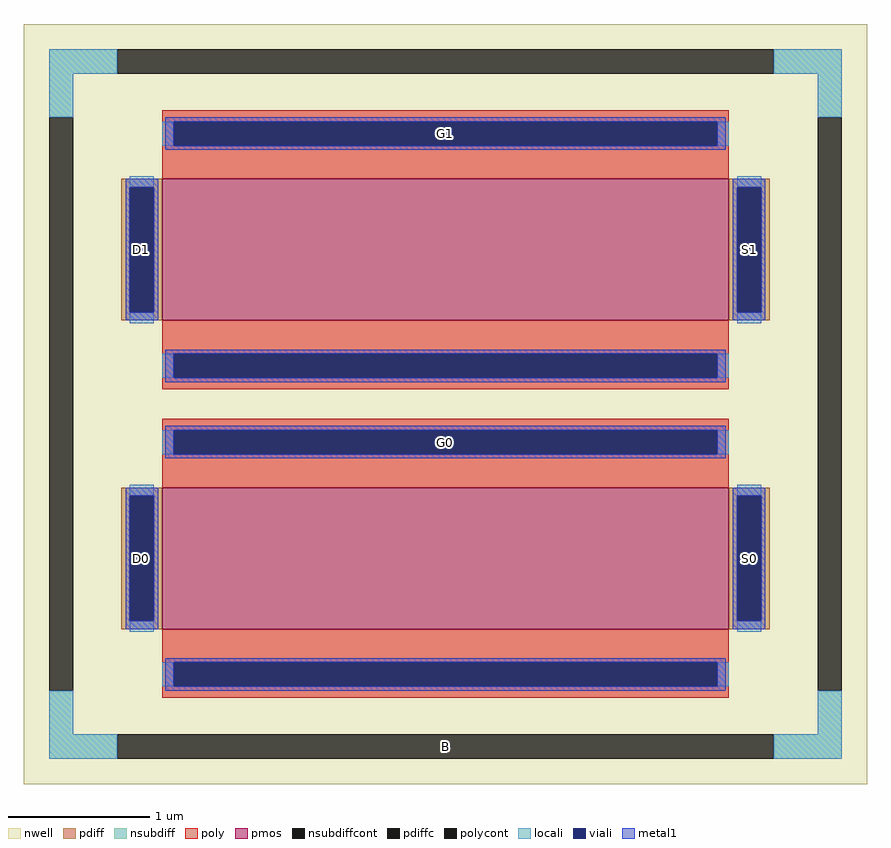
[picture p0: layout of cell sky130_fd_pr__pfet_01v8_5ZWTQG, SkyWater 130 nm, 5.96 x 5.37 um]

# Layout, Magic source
magic
tech sky130A
magscale 1 2
<< nwell >>
rect -596 -537 596 537
<< pmos >>
rect -400 118 400 318
rect -400 -318 400 -118
<< pdiff >>
rect -458 306 -400 318
rect -458 130 -446 306
rect -412 130 -400 306
rect -458 118 -400 130
rect 400 306 458 318
rect 400 130 412 306
rect 446 130 458 306
rect 400 118 458 130
rect -458 -130 -400 -118
rect -458 -306 -446 -130
rect -412 -306 -400 -130
rect -458 -318 -400 -306
rect 400 -130 458 -118
rect 400 -306 412 -130
rect 446 -306 458 -130
rect 400 -318 458 -306
<< pdiffc >>
rect -446 130 -412 306
rect 412 130 446 306
rect -446 -306 -412 -130
rect 412 -306 446 -130
<< nsubdiff >>
rect -560 467 -464 501
rect 464 467 560 501
rect -560 405 -526 467
rect 526 405 560 467
rect -560 -467 -526 -405
rect 526 -467 560 -405
rect -560 -501 -464 -467
rect 464 -501 560 -467
<< nsubdiffcont >>
rect -464 467 464 501
rect -560 -405 -526 405
rect 526 -405 560 405
rect -464 -501 464 -467
<< poly >>
rect -400 399 400 415
rect -400 365 -384 399
rect 384 365 400 399
rect -400 318 400 365
rect -400 71 400 118
rect -400 37 -384 71
rect 384 37 400 71
rect -400 21 400 37
rect -400 -37 400 -21
rect -400 -71 -384 -37
rect 384 -71 400 -37
rect -400 -118 400 -71
rect -400 -365 400 -318
rect -400 -399 -384 -365
rect 384 -399 400 -365
rect -400 -415 400 -399
<< polycont >>
rect -384 365 384 399
rect -384 37 384 71
rect -384 -71 384 -37
rect -384 -399 384 -365
<< locali >>
rect -560 467 -464 501
rect 464 467 560 501
rect -560 405 -526 467
rect 526 405 560 467
rect -400 365 -384 399
rect 384 365 400 399
rect -446 306 -412 322
rect -446 114 -412 130
rect 412 306 446 322
rect 412 114 446 130
rect -400 37 -384 71
rect 384 37 400 71
rect -400 -71 -384 -37
rect 384 -71 400 -37
rect -446 -130 -412 -114
rect -446 -322 -412 -306
rect 412 -130 446 -114
rect 412 -322 446 -306
rect -400 -399 -384 -365
rect 384 -399 400 -365
rect -560 -467 -526 -405
rect 526 -467 560 -405
rect -560 -501 -464 -467
rect 464 -501 560 -467
<< viali >>
rect -384 365 384 399
rect -446 130 -412 306
rect 412 130 446 306
rect -384 37 384 71
rect -384 -71 384 -37
rect -446 -306 -412 -130
rect 412 -306 446 -130
rect -384 -399 384 -365
<< metal1 >>
rect -396 399 396 405
rect -396 365 -384 399
rect 384 365 396 399
rect -396 359 396 365
rect -452 306 -406 318
rect -452 130 -446 306
rect -412 130 -406 306
rect -452 118 -406 130
rect 406 306 452 318
rect 406 130 412 306
rect 446 130 452 306
rect 406 118 452 130
rect -396 71 396 77
rect -396 37 -384 71
rect 384 37 396 71
rect -396 31 396 37
rect -396 -37 396 -31
rect -396 -71 -384 -37
rect 384 -71 396 -37
rect -396 -77 396 -71
rect -452 -130 -406 -118
rect -452 -306 -446 -130
rect -412 -306 -406 -130
rect -452 -318 -406 -306
rect 406 -130 452 -118
rect 406 -306 412 -130
rect 446 -306 452 -130
rect 406 -318 452 -306
rect -396 -365 396 -359
rect -396 -399 -384 -365
rect 384 -399 396 -365
rect -396 -405 396 -399
<< labels >>
rlabel nsubdiffcont 0 -484 0 -484 0 B
port 1 nsew
rlabel pdiffc -429 -218 -429 -218 0 D0
port 2 nsew
rlabel pdiffc 429 -218 429 -218 0 S0
port 3 nsew
rlabel polycont 0 -54 0 -54 0 G0
port 4 nsew
rlabel pdiffc -429 218 -429 218 0 D1
port 5 nsew
rlabel pdiffc 429 218 429 218 0 S1
port 6 nsew
rlabel polycont 0 382 0 382 0 G1
port 7 nsew
<< properties >>
string FIXED_BBOX -543 -484 543 484
string gencell sky130_fd_pr__pfet_01v8
string library sky130
string parameters w 1.0 l 4.0 m 2 nf 1 diffcov 100 polycov 100 guard 1 glc 1 grc 1 gtc 1 gbc 1 tbcov 100 rlcov 100 topc 1 botc 1 poverlap 0 doverlap 1 lmin 0.15 wmin 0.42 class mosfet compatible {sky130_fd_pr__pfet_01v8  sky130_fd_pr__pfet_01v8_lvt sky130_fd_pr__pfet_01v8_hvt  sky130_fd_pr__pfet_g5v0d10v5} full_metal 1 conn_gates 0 viasrc 100 viadrn 100 viagate 100 viagb 0 viagr 0 viagl 0 viagt 0 doports 1
<< end >>
